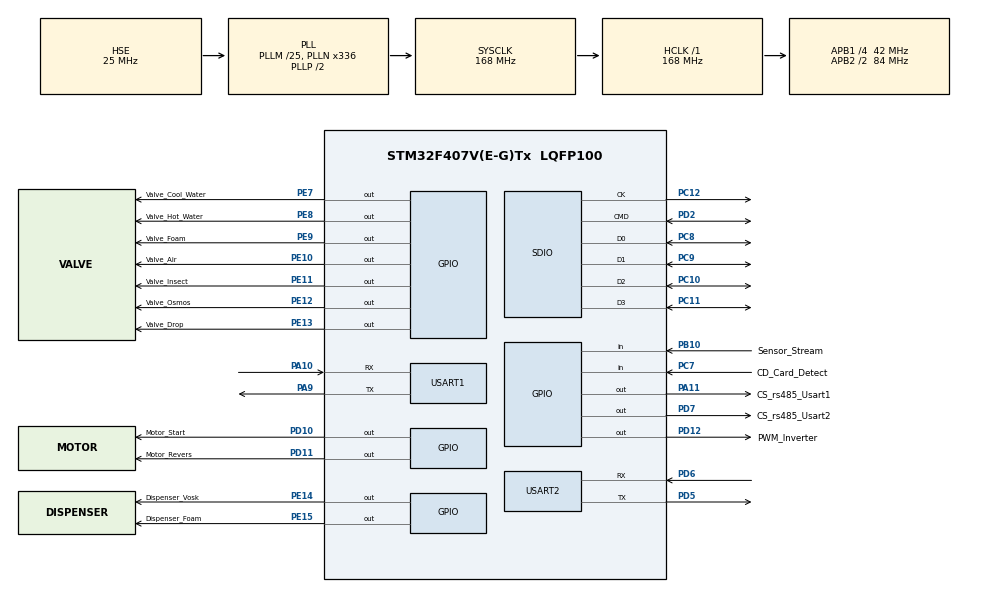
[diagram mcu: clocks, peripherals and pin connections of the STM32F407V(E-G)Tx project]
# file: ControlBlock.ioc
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FREERTOS.Tasks01=defaultTask,24,1024,StartDefaultTask,Default,NULL,Dynamic,NULL,NULL
Mcu.Family=STM32F4
Mcu.Name=STM32F407V(E-G)Tx
Mcu.Package=LQFP100
NVIC.PriorityGroup=NVIC_PRIORITYGROUP_4
NVIC.SDIO_IRQn=true\:5\:0\:false\:false\:true\:true\:true\:true\:true
NVIC.TIM7_IRQn=true\:15\:0\:false\:false\:true\:false\:false\:true\:true
NVIC.TimeBase=TIM7_IRQn
NVIC.TimeBaseIP=TIM7
NVIC.USART1_IRQn=true\:5\:0\:false\:false\:true\:true\:true\:true\:true
NVIC.USART2_IRQn=true\:5\:0\:false\:false\:true\:true\:true\:true\:true
PA10.Mode=Asynchronous
PA10.Signal=USART1_RX
PA11.GPIO_Label=CS_rs485_Usart1
PA11.Signal=GPIO_Output
PA13.Mode=JTAG_5_pins
PA13.Signal=SYS_JTMS-SWDIO
PA14.Mode=JTAG_5_pins
PA14.Signal=SYS_JTCK-SWCLK
PA15.Mode=JTAG_5_pins
PA15.Signal=SYS_JTDI
PA9.Mode=Asynchronous
PA9.Signal=USART1_TX
PB10.GPIO_Label=Sensor_Stream
PB10.Signal=GPIO_Input
PB3.Mode=JTAG_5_pins
PB3.Signal=SYS_JTDO-SWO
PB4.Mode=JTAG_5_pins
PB4.Signal=SYS_JTRST
PC10.Mode=SD_4_bits_Wide_bus
PC10.Signal=SDIO_D2
PC11.Mode=SD_4_bits_Wide_bus
PC11.Signal=SDIO_D3
PC12.Mode=SD_4_bits_Wide_bus
PC12.Signal=SDIO_CK
PC7.GPIO_Label=CD_Card_Detect
PC7.Signal=GPIO_Input
PC8.Mode=SD_4_bits_Wide_bus
PC8.Signal=SDIO_D0
PC9.Mode=SD_4_bits_Wide_bus
PC9.Signal=SDIO_D1
PD10.GPIO_Label=Motor_Start
PD10.Signal=GPIO_Output
PD11.GPIO_Label=Motor_Revers
PD11.Signal=GPIO_Output
PD12.GPIO_Label=PWM_Inverter
PD12.Signal=GPIO_Output
PD2.Mode=SD_4_bits_Wide_bus
PD2.Signal=SDIO_CMD
PD5.Mode=Asynchronous
PD5.Signal=USART2_TX
PD6.Mode=Asynchronous
PD6.Signal=USART2_RX
PD7.GPIO_Label=CS_rs485_Usart2
PD7.Signal=GPIO_Output
PE10.GPIO_Label=Valve_Air
PE10.Signal=GPIO_Output
PE11.GPIO_Label=Valve_Insect
PE11.Signal=GPIO_Output
PE12.GPIO_Label=Valve_Osmos
PE12.Signal=GPIO_Output
PE13.GPIO_Label=Valve_Drop
PE13.Signal=GPIO_Output
PE14.GPIO_Label=Dispenser_Vosk
PE14.Signal=GPIO_Output
PE15.GPIO_Label=Dispenser_Foam
PE15.Signal=GPIO_Output
PE7.GPIO_Label=Valve_Cool_Water
PE7.Signal=GPIO_Output
PE8.GPIO_Label=Valve_Hot_Water
PE8.Signal=GPIO_Output
PE9.GPIO_Label=Valve_Foam
PE9.Signal=GPIO_Output
PH0-OSC_IN.Mode=HSE-External-Oscillator
PH0-OSC_IN.Signal=RCC_OSC_IN
PH1-OSC_OUT.Mode=HSE-External-Oscillator
PH1-OSC_OUT.Signal=RCC_OSC_OUT
ProjectManager.HeapSize=0x200
ProjectManager.StackSize=0x400
ProjectManager.TargetToolchain=MDK-ARM V5.32
RCC.48MHZClocksFreq_Value=48000000
RCC.AHBFreq_Value=168000000
RCC.APB1CLKDivider=RCC_HCLK_DIV4
RCC.APB1Freq_Value=42000000
RCC.APB1TimFreq_Value=84000000
RCC.APB2CLKDivider=RCC_HCLK_DIV2
RCC.APB2Freq_Value=84000000
RCC.APB2TimFreq_Value=168000000
RCC.CortexFreq_Value=168000000
RCC.HCLKFreq_Value=168000000
RCC.HSE_VALUE=25000000
RCC.HSI_VALUE=16000000
RCC.LSE_VALUE=32768
RCC.PLLM=25
RCC.PLLN=336
RCC.PLLQ=7
RCC.PLLSourceVirtual=RCC_PLLSOURCE_HSE
RCC.SYSCLKFreq_VALUE=168000000
RCC.SYSCLKSource=RCC_SYSCLKSOURCE_PLLCLK
RCC.VCOOutputFreq_Value=336000000
USART1.VirtualMode=VM_ASYNC
USART2.VirtualMode=VM_ASYNC
VP_FREERTOS_VS_CMSIS_V2.Mode=CMSIS_V2
VP_SYS_VS_tim7.Mode=TIM7
board=custom

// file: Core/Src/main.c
/* USER CODE BEGIN Header */
/**
  ******************************************************************************
  * @file           : main.c
  * @brief          : Main program body
  ******************************************************************************
  * @attention
  *
  * Copyright (c) 2022 STMicroelectronics.
  * All rights reserved.
  *
  * This software is licensed under terms that can be found in the LICENSE file
  * in the root directory of this software component.
  * If no LICENSE file comes with this software, it is provided AS-IS.
  *
  ******************************************************************************
  */
/* USER CODE END Header */
#include "main.h"
#include "cmsis_os.h"
#include "sdio.h"
#include "usart.h"
#include "gpio.h"

void SystemClock_Config(void);
void MX_FREERTOS_Init(void);

int main(void)
{

  /* MCU Configuration--------------------------------------------------------*/

  /* Reset of all peripherals, Initializes the Flash interface and the Systick. */
  HAL_Init();

  /* Configure the system clock */
  SystemClock_Config();

  /* Initialize all configured peripherals */
  MX_GPIO_Init();
  MX_SDIO_SD_Init();
  MX_USART1_UART_Init();
  MX_USART2_UART_Init();

  /* Init scheduler */
  osKernelInitialize();  /* Call init function for freertos objects (in freertos.c) */
  MX_FREERTOS_Init();

  /* Start scheduler */
  osKernelStart();

  /* We should never get here as control is now taken by the scheduler */
  /* Infinite loop */
  while (1)
  {

  }
}

void SystemClock_Config(void)
{
  RCC_OscInitTypeDef RCC_OscInitStruct = {0};
  RCC_ClkInitTypeDef RCC_ClkInitStruct = {0};

  /** Configure the main internal regulator output voltage
  */
  __HAL_RCC_PWR_CLK_ENABLE();
  __HAL_PWR_VOLTAGESCALING_CONFIG(PWR_REGULATOR_VOLTAGE_SCALE1);

  /** Initializes the RCC Oscillators according to the specified parameters
  * in the RCC_OscInitTypeDef structure.
  */
  RCC_OscInitStruct.OscillatorType = RCC_OSCILLATORTYPE_HSE;
  RCC_OscInitStruct.HSEState = RCC_HSE_ON;
  RCC_OscInitStruct.PLL.PLLState = RCC_PLL_ON;
  RCC_OscInitStruct.PLL.PLLSource = RCC_PLLSOURCE_HSE;
  RCC_OscInitStruct.PLL.PLLM = 25;
  RCC_OscInitStruct.PLL.PLLN = 336;
  RCC_OscInitStruct.PLL.PLLP = RCC_PLLP_DIV2;
  RCC_OscInitStruct.PLL.PLLQ = 7;
  if (HAL_RCC_OscConfig(&RCC_OscInitStruct) != HAL_OK)
  {
    Error_Handler();
  }

  /** Initializes the CPU, AHB and APB buses clocks
  */
  RCC_ClkInitStruct.ClockType = RCC_CLOCKTYPE_HCLK|RCC_CLOCKTYPE_SYSCLK
                              |RCC_CLOCKTYPE_PCLK1|RCC_CLOCKTYPE_PCLK2;
  RCC_ClkInitStruct.SYSCLKSource = RCC_SYSCLKSOURCE_PLLCLK;
  RCC_ClkInitStruct.AHBCLKDivider = RCC_SYSCLK_DIV1;
  RCC_ClkInitStruct.APB1CLKDivider = RCC_HCLK_DIV4;
  RCC_ClkInitStruct.APB2CLKDivider = RCC_HCLK_DIV2;

  if (HAL_RCC_ClockConfig(&RCC_ClkInitStruct, FLASH_LATENCY_5) != HAL_OK)
  {
    Error_Handler();
  }
}

void HAL_TIM_PeriodElapsedCallback(TIM_HandleTypeDef *htim)
{
  if (htim->Instance == TIM7) {
    HAL_IncTick();
  }
}

void Error_Handler(void)
{
  __disable_irq();
  while (1)
  {
  }
}

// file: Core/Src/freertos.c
/* USER CODE BEGIN Header */
/**
  ******************************************************************************
  * File Name          : freertos.c
  * Description        : Code for freertos applications
  ******************************************************************************
  * @attention
  *
  * Copyright (c) 2022 STMicroelectronics.
  * All rights reserved.
  *
  * This software is licensed under terms that can be found in the LICENSE file
  * in the root directory of this software component.
  * If no LICENSE file comes with this software, it is provided AS-IS.
  *
  ******************************************************************************
  */
/* USER CODE END Header */

#include "FreeRTOS.h"
#include "task.h"
#include "main.h"
#include "cmsis_os.h"

/* USER CODE BEGIN Includes */
#include <string.h>
#include "GlobalSettings.h"
#include "Crc16.h"
#include "RequestsSorting.h"
#include "usart.h"
/* USER CODE END Includes */

/* USER CODE BEGIN Variables */
extern uint8_t rx_usart1_data[BUF_LEN];
uint8_t access = 0; //содержит результат проверки CRC входящих данных.
uint16_t result;
// Флаги и статусы состояния.
uint8_t statusState = 0x00; // текущий статус состояния.
/* USER CODE END Variables */
/* Definitions for defaultTask */
osThreadId_t defaultTaskHandle;
const osThreadAttr_t defaultTask_attributes = {
  .name = "defaultTask",
  .stack_size = 1024 * 4,
  .priority = (osPriority_t) osPriorityNormal,
};

void StartDefaultTask(void *argument);

void MX_FREERTOS_Init(void); /* (MISRA C 2004 rule 8.1) */

void MX_FREERTOS_Init(void) {
  /* USER CODE BEGIN Init */
    HAL_UART_Receive_IT(&huart1, rx_usart1_data, RECEIV_LEN);
  /* USER CODE END Init */

  /* Create the thread(s) */
  /* creation of defaultTask */
  defaultTaskHandle = osThreadNew(StartDefaultTask, NULL, &defaultTask_attributes);

}

void StartDefaultTask(void *argument)
{
  /* USER CODE BEGIN StartDefaultTask */
    /* Infinite loop */
    for(;;)
    {
//        if(RECEIV_LEN - huart2.RxXferCount >= 5)
//        {
//            HAL_GPIO_TogglePin(GPIOD, GPIO_PIN_14);
//            memset(rx_usart1_data, 0, sizeof(rx_usart1_data));
//            HAL_UART_AbortReceive_IT(&huart2);
//            HAL_UART_Receive_IT(&huart2, rx_usart1_data, RECEIV_LEN);
//        }
        if(RECEIV_LEN - huart1.RxXferCount != 0)
        {
            if(rx_usart1_data[0] == COMP_ADDRESS &&
               rx_usart1_data[1] == CONTROL_BLOCK_ADDRESS &&
               rx_usart1_data[3] == RECEIV_LEN - huart1.RxXferCount)
            {
                if(CompareCrc16(rx_usart1_data) == 1)
                {
                    IncomingRequest(rx_usart1_data);
                }

                memset(rx_usart1_data, 0, sizeof(rx_usart1_data)); // очистка массива
                HAL_UART_AbortReceive(&huart1); //отключение прерываний для входящих данных
                HAL_UART_Receive_IT(&huart1, rx_usart1_data, RECEIV_LEN); //включение прерываний для входящих данных
            } else
            {
                memset(rx_usart1_data, 0, sizeof(rx_usart1_data)); // очистка массива
                HAL_UART_AbortReceive(&huart1); //отключение прерываний для входящих данных
                HAL_UART_Receive_IT(&huart1, rx_usart1_data, RECEIV_LEN); //включение прерываний для входящих данных
            }
        }

        osDelay(20);
    }
  /* USER CODE END StartDefaultTask */
}
